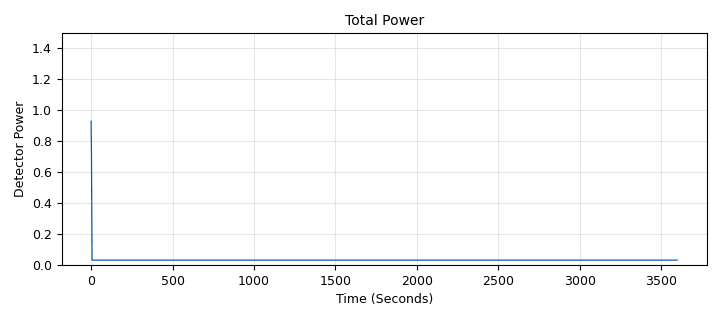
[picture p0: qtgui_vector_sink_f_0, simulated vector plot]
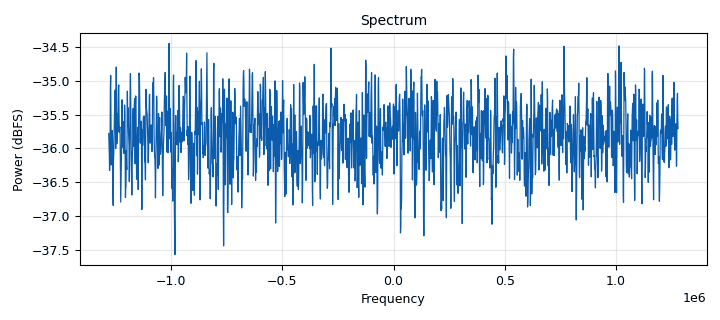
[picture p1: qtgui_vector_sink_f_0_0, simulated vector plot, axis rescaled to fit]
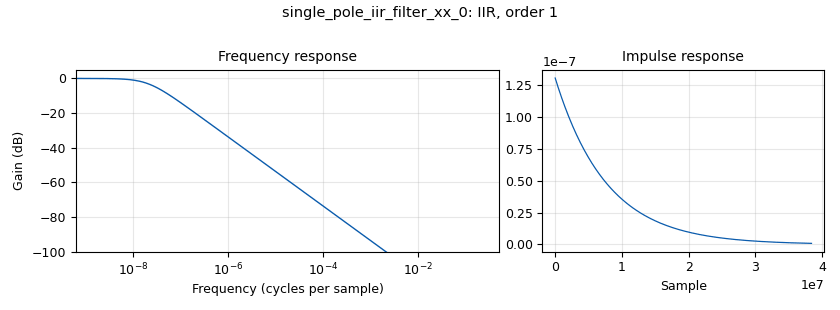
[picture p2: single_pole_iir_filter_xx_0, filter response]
<?xml version='1.0' encoding='utf-8'?>
<?grc format='1' created='3.7.13'?>
<flow_graph>
<block>
<key>options</key>
<param><key>id</key><value>baa_seminar</value></param>
<param><key>generate_options</key><value>qt_gui</value></param>
<param><key>run_options</key><value>run</value></param>
</block>
<block>
<key>variable</key>
<param><key>id</key><value>data_rate</value></param>
<param><key>comment</key><value>The "back end" operates at this many Hz
10Hz should be more than adequate for
any data-logging requirements for this
type of observing</value></param>
<param><key>value</key><value>10</value></param>
</block>
<block>
<key>variable</key>
<param><key>id</key><value>fftsize</value></param>
<param><key>comment</key><value>We make this a variable, but in reality
Embedded Python blocks
dont handle runtime vector sizing very well</value></param>
<param><key>value</key><value>2048</value></param>
</block>
<block>
<key>variable</key>
<param><key>id</key><value>samp_rate</value></param>
<param><key>value</key><value>2.56e6</value></param>
</block>
<block>
<key>analog_fastnoise_source_x</key>
<param><key>id</key><value>analog_fastnoise_source_x_0</value></param>
<param><key>amp</key><value>1</value></param>
<param><key>noise_type</key><value>analog.GR_GAUSSIAN</value></param>
<param><key>type</key><value>complex</value></param>
<param><key>seed</key><value>33</value></param>
<param><key>samples</key><value>9137</value></param>
</block>
<block>
<key>analog_fastnoise_source_x</key>
<param><key>id</key><value>analog_fastnoise_source_x_0_0</value></param>
<param><key>amp</key><value>1</value></param>
<param><key>noise_type</key><value>analog.GR_GAUSSIAN</value></param>
<param><key>type</key><value>complex</value></param>
<param><key>seed</key><value>52</value></param>
<param><key>samples</key><value>7539</value></param>
</block>
<block>
<key>blocks_complex_to_mag_squared</key>
<param><key>id</key><value>blocks_complex_to_mag_squared_0</value></param>
<param><key>comment</key><value>A detector
Computes
(I^2)+(Q^2)</value></param>
</block>
<block>
<key>blocks_keep_one_in_n</key>
<param><key>id</key><value>blocks_keep_one_in_n_0</value></param>
<param><key>comment</key><value>After filtering, we don't need high
sample rates
reduce to 'data_rate' Hz</value></param>
<param><key>n</key><value>int(samp_rate/data_rate)</value></param>
<param><key>type</key><value>float</value></param>
</block>
<block>
<key>blocks_multiply_xx</key>
<param><key>id</key><value>blocks_multiply_xx_0</value></param>
<param><key>type</key><value>complex</value></param>
</block>
<block>
<key>blocks_throttle</key>
<param><key>id</key><value>blocks_throttle_0</value></param>
<param><key>samples_per_second</key><value>samp_rate</value></param>
<param><key>type</key><value>complex</value></param>
</block>
<block>
<key>epy_block</key>
<param><key>id</key><value>formatter</value></param>
<param><key>_source_code</key><value>"""
Embedded Python Blocks:

Each time this file is saved, GRC will instantiate the first class it finds
to get ports and parameters of your block. The arguments to __init__  will
be the parameters. All of them are required to have default values!
"""

import numpy as np
from gnuradio import gr
import time


class blk(gr.sync_block):  # other base classes are basic_block, decim_block, interp_block
    """A slow data textual formatter
          inputs are expected to be science-data
             Parameters:
                formatter - pointer to a custom formatter function
                filepat - pattern used for formatting filename must provide converters for YYYY MM DD
                extension - filename extension
                logtime - how often to log, in seconds
                fmtstr - formatter for data values -- most provide converters for both values
                nchan - number of interleaved channels on input"""
                
                

    def __init__(self, formatter=None, filepat="foonly-%d%d%d", extension=".csv", logtime=10,fmtstr="%11.9f",nchan=1,localtime=False):  # only default arguments here
        """arguments to this function show up as parameters in GRC"""
        gr.sync_block.__init__(
            self,
            name='BAA:Data Logger',   # will show up in GRC
            in_sig=[np.float32],
            out_sig=None
        )
        # if an attribute with the same name as a parameter is found,
        # a callback is registered (properties work, too).
        
        #
        # Formatter is a function pointer--very often 'None'
        #
        self.formatter = formatter
        
        #
        # Controls the template for filename generation
        #
        self.filepat= filepat
        
        #
        # The filename extension
        #
        self.extension=extension
        
        #
        # The logging interval
        #
        self.logtime=logtime
        
        
        #
        # The data-item formatting string
        #      
        self.fmtstr = fmtstr
        
        #
        # How many (interleaved) channels
        self.nchan = nchan
        
        #
        # Use local time, rather than UTC/GMT?
        #
        self.localtime = localtime
        
        #
        # The averaing cells
        #
        self.avg = [0.0]*nchan
        self.acnt = [0]*nchan

        
        #
        # Keep track of the next channel's averaging cell we
        #  need to update
        #
        self.cndx = 0
        
        
        #
        # This isn't strictly required, since the work function code
        #  will take care of whatever items it gets presented with.
        #
        self.set_output_multiple(nchan)
        
        self.now = time.time()

    def work(self, input_items, output_items):
        
        if (self.localtime == False):
            ltp = time.gmtime()
        else:
            ltp = time.localtime()
        
        #
        # Distribute the input items over the averaging buffer as appropriate
        #  We assume that the input is interleaved by 'nchan'
        #  We use 'self.cndx' to keep track of which channel's averaging
        #  cell we need to put the next value in.
        #
        # Because GR's scheduler has no idea what our internal "shape"
        #  is, it can hand us many, or a few, items, every time we're
        #  called.
        #
        for x in range(len(input_items[0])):
            self.avg[self.cndx % self.nchan] += input_items[0][x]
            self.acnt[self.cndx % self.nchan] += 1
            
            #
            # Increment and modularly reduce cndx
            #
            self.cndx += 1
            self.cndx %= self.nchan
            

        if ((time.time() - self.now) &gt; self.logtime):
            self.now = time.time()
            if (self.formatter == None):
                fp = open(self.filepat % (ltp.tm_year, ltp.tm_mon, ltp.tm_mday) + self.extension, "a")
                fp.write("%02d,%02d,%02d," % (ltp.tm_hour, ltp.tm_min, ltp.tm_sec))
                for x in range(self.nchan):
                    self.avg[x] /= self.acnt[x]
                    self.acnt[x] = 0
                    fp.write (self.fmtstr  % (self.avg[x]))
                    if (x &lt; self.nchan-1):
                        fp.write(",")
                fp.write("\n")
                fp.close()
            else:
                self.formatter(self.filepat,self.extension,self.avg[0],self.avg[1])
            
        return len(input_items[0])
</value></param>
<param><key>extension</key><value>'.csv'</value></param>
<param><key>filepat</key><value>'tp-%04d%02d%02d'</value></param>
<param><key>fmtstr</key><value>'%11.9f'</value></param>
<param><key>formatter</key><value>None</value></param>
<param><key>localtime</key><value>True</value></param>
<param><key>logtime</key><value>3</value></param>
<param><key>nchan</key><value>1</value></param>
</block>
<block>
<key>logpwrfft_x</key>
<param><key>id</key><value>logpwrfft_x_0</value></param>
<param><key>avg_alpha</key><value>1.0/(samp_rate/fftsize/data_rate)</value></param>
<param><key>average</key><value>True</value></param>
<param><key>fft_size</key><value>fftsize</value></param>
<param><key>frame_rate</key><value>data_rate</value></param>
<param><key>type</key><value>complex</value></param>
<param><key>ref_scale</key><value>2</value></param>
<param><key>sample_rate</key><value>samp_rate</value></param>
</block>
<block>
<key>qtgui_vector_sink_f</key>
<param><key>id</key><value>qtgui_vector_sink_f_0</value></param>
<param><key>grid</key><value>True</value></param>
<param><key>name</key><value>Total Power</value></param>
<param><key>showports</key><value>True</value></param>
<param><key>update_time</key><value>0.250</value></param>
<param><key>vlen</key><value>3600</value></param>
<param><key>x_axis_label</key><value>"Time (Seconds)"</value></param>
<param><key>x_start</key><value>0</value></param>
<param><key>x_step</key><value>1</value></param>
<param><key>ymax</key><value>1.5</value></param>
<param><key>ymin</key><value>0</value></param>
<param><key>y_axis_label</key><value>"Detector Power"</value></param>
</block>
<block>
<key>qtgui_vector_sink_f</key>
<param><key>id</key><value>qtgui_vector_sink_f_0_0</value></param>
<param><key>grid</key><value>True</value></param>
<param><key>name</key><value>Spectrum</value></param>
<param><key>showports</key><value>True</value></param>
<param><key>update_time</key><value>0.250</value></param>
<param><key>vlen</key><value>fftsize</value></param>
<param><key>x_axis_label</key><value>"Frequency"</value></param>
<param><key>x_start</key><value>-samp_rate/2.0</value></param>
<param><key>x_step</key><value>samp_rate/fftsize</value></param>
<param><key>ymin</key><value>-90</value></param>
<param><key>y_axis_label</key><value>"Power (dBFS)"</value></param>
</block>
<block>
<key>single_pole_iir_filter_xx</key>
<param><key>id</key><value>single_pole_iir_filter_xx_0</value></param>
<param><key>alpha</key><value>1.0/(samp_rate*3)</value></param>
<param><key>comment</key><value>A simple filter/integrator</value></param>
<param><key>type</key><value>float</value></param>
</block>
<block>
<key>epy_block</key>
<param><key>id</key><value>stripchart</value></param>
<param><key>_source_code</key><value>"""
Embedded Python Blocks:

Each time this file is saved, GRC will instantiate the first class it finds
to get ports and parameters of your block. The arguments to __init__  will
be the parameters. All of them are required to have default values!
"""

import numpy as np
from gnuradio import gr
import time


class blk(gr.basic_block):  # other base classes are basic_block, decim_block, interp_block
    """A strip chart takes in a stream of floats and produces a 1 hour long
       strip-chart as output
       
       Params:
          decim - how much to decimate input to produce 1 SPS"""

    def __init__(self, decim=100):  # only default arguments here
        """arguments to this function show up as parameters in GRC"""
        gr.basic_block.__init__(
            self,
            name='BAA:Strip Chart',   # will show up in GRC
            in_sig=[np.float32],
            out_sig=[(np.float32,3600)]
        )
        # if an attribute with the same name as a parameter is found,
        # a callback is registered (properties work, too).
        
        #
        # How much do we need to average the input to produce a 1SPS
        #  output?
        #
        self.decim = decim
        
        #
        # The stripchart vector itself--must be persistent in the
        #  object instance
        #
        self.strip = [0.0]*3600
        
        #
        # keeps track of decimation
        #
        self.counter = 0
        
        #
        # We continuously average the input and store it here
        #
        self.avg = 0.0

    def general_work(self, input_items, output_items):
        """take an input item(s), place appropriately in stripchart output"""
        #
        # For each of the input items
        #
        if (self.avg == 0.0):
            self.avg = input_items[0][0]
            self.strip = [self.avg]*len(self.strip)

        for x in range(len(input_items[0])):
            #
            # Two-point moving average for now
            #
            self.avg += input_items[0][x]
            self.counter += 1
            
            #
            # Time to output an item into the stripchart
            #
            if (self.counter &gt;= self.decim):
                self.avg /= self.decim
                
                #
                # Use python array notation to effect a quick
                #  shift of items in the stripchart array
                #
                self.strip = [self.avg] + self.strip[:-1]
                self.counter = 0
        #
        # Stuff output items with the contents of the stripchart
        #
        for y in range(len(output_items[0])):
            for x in range(len(self.strip)):
                output_items[0][y][x] = self.strip[x]
        
        #
        # Tell scheduler we consumed items
        #
        self.consume(0, len(input_items[0]))
        return len(output_items[0])
</value></param>
<param><key>comment</key><value>Produces a "stripchart" type vector</value></param>
<param><key>decim</key><value>data_rate</value></param>
</block>
<block>
<key>epy_block</key>
<param><key>id</key><value>vectorlogger</value></param>
<param><key>_source_code</key><value>"""
Embedded Python Blocks:

Each time this file is saved, GRC will instantiate the first class it finds
to get ports and parameters of your block. The arguments to __init__  will
be the parameters. All of them are required to have default values!
"""

import numpy as np
from gnuradio import gr
import time


class blk(gr.sync_block):  # other base classes are basic_block, decim_block, interp_block
    """Logging of vectors (like FFT outputs)"""

    def __init__(self, fftsize=2048, formatter=None, filepat="foonly-%04d%02d%02d", extension=".csv", logtime=10, fmtstr="%11.9f", localtime=False):  # only default arguments here
        """arguments to this function show up as parameters in GRC"""
        gr.sync_block.__init__(
            self,
            name='BAA:Vector Logger',   # will show up in GRC
            in_sig=[(np.float32,fftsize)],
            out_sig=None
        )
        
        self.formatter = formatter
        self.filepat = filepat
        self.extension = extension
        self.logtime = logtime
        self.fmtstr = fmtstr
        self.localtime = localtime
        self.vecavg = np.zeros(fftsize)
        self.now = time.time()

        

    def work(self, input_items, output_items):
        """Log a vector into a filet"""
        for x in range(len(input_items[0])):
            self.vecavg = np.add(self.vecavg, input_items[0][x])
            self.vecavg = np.divide(self.vecavg, [2.0]*len(self.vecavg))
        
        #
        # If time to log
        #
        if (time.time() - self.now &gt;= self.logtime):
            self.now = time.time()
            #
            # Decide on localtime or gmtime
            #
            if (self.localtime == True):
                ltp = time.localtime()
            else:
                ltp = time.gmtime()
            
            #
            # If they specified a formatter function call it instead
            #
            if (self.formatter != None):
                self.formatter(self.vecavg,self.filepat,self.extension)
            
            #
            # Otherwise, do it here
            #
            else:
				#
				# Open the output file, with a name according to the filepat
				#  specified
				#
                fp = open(self.filepat % (ltp.tm_year, ltp.tm_mon, ltp.tm_mday) + self.extension, "a")
                
                #
                # Write record header
                #
                fp.write ("%02d,%02d,%02d," % (ltp.tm_hour, ltp.tm_min, ltp.tm_sec))
                
                #
                # Write each of the data items in the input vector
                #
                for x in range(len(self.vecavg)):
                    fp.write(self.fmtstr % self.vecavg[x])
                    if (x &lt; len(self.vecavg)-1):
                        fp.write(",")
                fp.write("\n")
                fp.close()
            
            
        return len(input_items[0])
</value></param>
<param><key>extension</key><value>'.csv'</value></param>
<param><key>fftsize</key><value>fftsize</value></param>
<param><key>filepat</key><value>'fft-0-%04d%02d%02d'</value></param>
<param><key>fmtstr</key><value>'%6.2f'</value></param>
<param><key>formatter</key><value>None</value></param>
<param><key>localtime</key><value>False</value></param>
<param><key>logtime</key><value>10</value></param>
</block>
<connection><source_block_id>analog_fastnoise_source_x_0</source_block_id><sink_block_id>blocks_multiply_xx_0</sink_block_id><source_key>0</source_key><sink_key>0</sink_key></connection>
<connection><source_block_id>analog_fastnoise_source_x_0_0</source_block_id><sink_block_id>blocks_multiply_xx_0</sink_block_id><source_key>0</source_key><sink_key>1</sink_key></connection>
<connection><source_block_id>blocks_complex_to_mag_squared_0</source_block_id><sink_block_id>single_pole_iir_filter_xx_0</sink_block_id><source_key>0</source_key><sink_key>0</sink_key></connection>
<connection><source_block_id>blocks_keep_one_in_n_0</source_block_id><sink_block_id>formatter</sink_block_id><source_key>0</source_key><sink_key>0</sink_key></connection>
<connection><source_block_id>blocks_keep_one_in_n_0</source_block_id><sink_block_id>stripchart</sink_block_id><source_key>0</source_key><sink_key>0</sink_key></connection>
<connection><source_block_id>blocks_multiply_xx_0</source_block_id><sink_block_id>blocks_throttle_0</sink_block_id><source_key>0</source_key><sink_key>0</sink_key></connection>
<connection><source_block_id>blocks_throttle_0</source_block_id><sink_block_id>blocks_complex_to_mag_squared_0</sink_block_id><source_key>0</source_key><sink_key>0</sink_key></connection>
<connection><source_block_id>blocks_throttle_0</source_block_id><sink_block_id>logpwrfft_x_0</sink_block_id><source_key>0</source_key><sink_key>0</sink_key></connection>
<connection><source_block_id>logpwrfft_x_0</source_block_id><sink_block_id>qtgui_vector_sink_f_0_0</sink_block_id><source_key>0</source_key><sink_key>0</sink_key></connection>
<connection><source_block_id>logpwrfft_x_0</source_block_id><sink_block_id>vectorlogger</sink_block_id><source_key>0</source_key><sink_key>0</sink_key></connection>
<connection><source_block_id>single_pole_iir_filter_xx_0</source_block_id><sink_block_id>blocks_keep_one_in_n_0</sink_block_id><source_key>0</source_key><sink_key>0</sink_key></connection>
<connection><source_block_id>stripchart</source_block_id><sink_block_id>qtgui_vector_sink_f_0</sink_block_id><source_key>0</source_key><sink_key>0</sink_key></connection>
</flow_graph>
